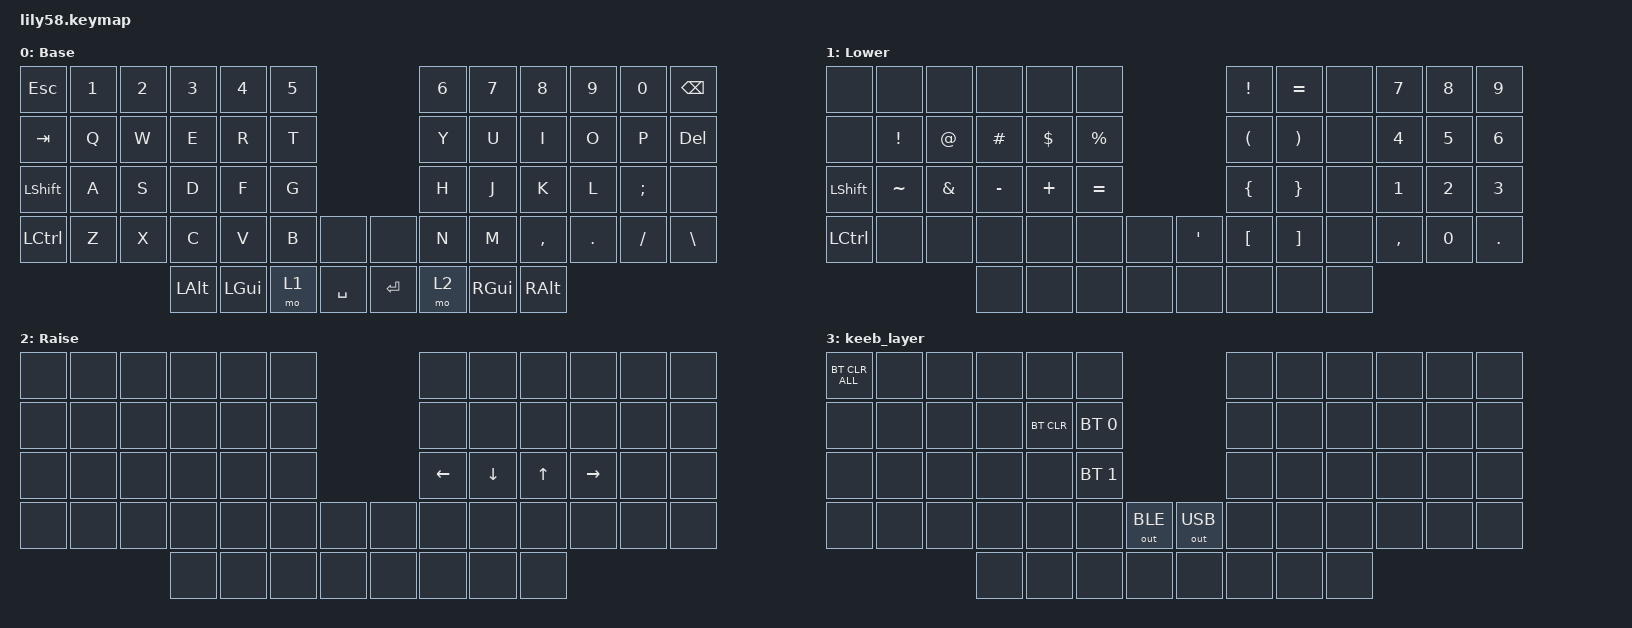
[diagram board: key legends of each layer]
/*
 * Copyright (c) 2020 The ZMK Contributors
 *
 * SPDX-License-Identifier: MIT
 */

#include <behaviors.dtsi>
#include <dt-bindings/zmk/bt.h>
#include <dt-bindings/zmk/keys.h>
#include <dt-bindings/zmk/outputs.h>

/ {
    keymap {
        compatible = "zmk,keymap";

        default_layer {
            // ------------------------------------------------------------------------------------------------------------
            // |  ESC  |  1  |  2  |  3   |  4   |  5   |                   |  6   |  7    |  8    |  9   |   0   |   `   |
            // |  TAB  |  Q  |  W  |  E   |  R   |  T   |                   |  Y   |  U    |  I    |  O   |   P   |   -   |
            // |  CTRL |  A  |  S  |  D   |  F   |  G   |                   |  H   |  J    |  K    |  L   |   ;   |   '   |
            // | SHIFT |  Z  |  X  |  C   |  V   |  B   |   "["  |  |  "]"  |  N   |  M    |  ,    |  .   |   /   | SHIFT |
            //                     | ALT  | GUI  | LOWER|  SPACE |  | ENTER | RAISE| BSPC  | GUI   |

            label = "Base";
            bindings = <
&kp ESC           &kp N1  &kp N2  &kp N3    &kp N4    &kp N5                        &kp N6  &kp N7    &kp N8         &kp N9   &kp N0         &kp BACKSPACE
&kp TAB           &kp Q   &kp W   &kp E     &kp R     &kp T                         &kp Y   &kp U     &kp I          &kp O    &kp P          &kp DELETE
&kp LEFT_SHIFT    &kp A   &kp S   &kp D     &kp F     &kp G                         &kp H   &kp J     &kp K          &kp L    &kp SEMICOLON  &none
&kp LEFT_CONTROL  &kp Z   &kp X   &kp C     &kp V     &kp B   &none        &none    &kp N   &kp M     &kp COMMA      &kp DOT  &kp FSLH       &kp BACKSLASH
                                  &kp LALT  &kp LGUI  &mo 1   &kp SPACE    &kp RET  &mo 2   &kp RGUI  &kp RIGHT_ALT
            >;
        };

        lower_layer {
            // ------------------------------------------------------------------------------------------------------------
            // | BTCLR | BT1 | BT2 |  BT3 |  BT4 |  BT5 |                   |      |       |       |      |       |       |
            // |  F1   |  F2 |  F3 |  F4  |  F5  |  F6  |                   |  F7  |  F8   |  F9   |  F10 |  F11  |  F12  |
            // |   `   |  !  |  @  |  #   |  $   |  %   |                   |  ^   |  &    |  *    |  (   |   )   |   ~   |
            // |       |     |     |      |      |      |        |  |       |      |  _    |  +    |  {   |   }   |  "|"  |
            //                     |      |      |      |        |  |       |      |       |       |

            label = "Lower";
            bindings = <
&none             &none            &none          &none      &none       &none                                   &kp EXCLAMATION       &kp EQUAL              &none  &kp N7     &kp N8  &kp N9
&none             &kp EXCLAMATION  &kp AT_SIGN    &kp HASH   &kp DOLLAR  &kp PERCENT                             &kp LEFT_PARENTHESIS  &kp RIGHT_PARENTHESIS  &none  &kp N4     &kp N5  &kp NUMBER_6
&kp LEFT_SHIFT    &kp TILDE        &kp AMPERSAND  &kp MINUS  &kp PLUS    &kp EQUAL                               &kp LEFT_BRACE        &kp RIGHT_BRACE        &none  &kp N1     &kp N2  &kp N3
&kp LEFT_CONTROL  &none            &none          &none      &none       &none        &none    &kp SINGLE_QUOTE  &kp LEFT_BRACKET      &kp RIGHT_BRACKET      &none  &kp COMMA  &kp N0  &kp PERIOD
                                                  &none      &none       &none        &none    &none             &none                 &none                  &none
            >;
        };

        raise_layer {
            // ------------------------------------------------------------------------------------------------------------
            // |       |     |     |      |      |      |                   |      |       |       |      |       |       |
            // |   `   |  1  |  2  |  3   |  4   |  5   |                   |  6   |   7   |   8   |  9   |   0   |       |
            // |   F1  |  F2 |  F3 |  F4  |  F5  |  F6  |                   |      |   <-  |   v   |  ^   |  ->   |       |
            // |   F7  |  F8 |  F9 |  F10 |  F11 |  F12 |        |  |       |  +   |   -   |   =   |  [   |   ]   |   \   |
            //                     |      |      |      |        |  |       |      |       |       |

            label = "Raise";
            bindings = <
&none  &none  &none  &none  &none  &none                  &none     &none     &none         &none      &none  &none
&none  &none  &none  &none  &none  &none                  &none     &none     &none         &none      &none  &none
&none  &none  &none  &none  &none  &none                  &kp LEFT  &kp DOWN  &kp UP_ARROW  &kp RIGHT  &none  &none
&none  &none  &none  &none  &none  &none  &none    &none  &none     &none     &none         &none      &none  &none
                     &none  &none  &none  &none    &none  &none     &none     &none
            >;
        };

        keeb_layer {
            bindings = <
&bt BT_CLR_ALL  &none  &none  &none  &none       &none                                       &none  &none  &none  &none  &none  &none
&none           &none  &none  &none  &bt BT_CLR  &bt BT_SEL 0                                &none  &none  &none  &none  &none  &none
&none           &none  &none  &none  &none       &bt BT_SEL 1                                &none  &none  &none  &none  &none  &none
&none           &none  &none  &none  &none       &none         &out OUT_BLE    &out OUT_USB  &none  &none  &none  &none  &none  &none
                              &none  &none       &none         &none           &none         &none  &none  &none
            >;
        };
    };

    conditional_layers {
        compatible = "zmk,conditional-layers";

        keeb_layer {
            if-layers = <1 2>;
            then-layer = <3>;
        };
    };
};
